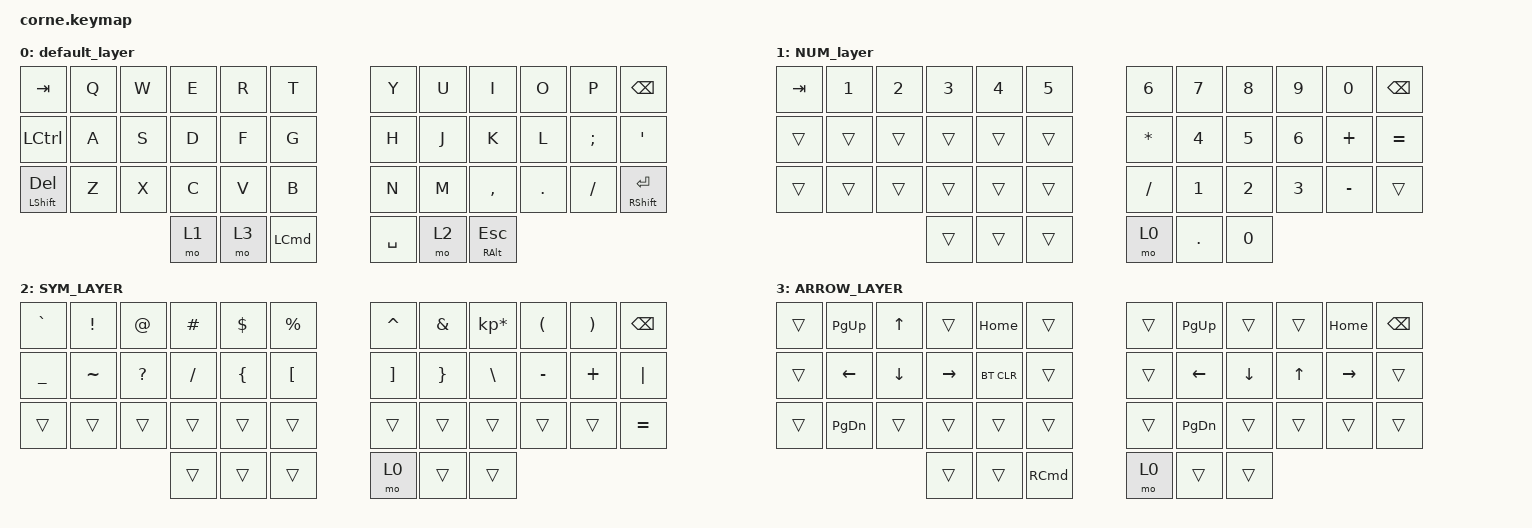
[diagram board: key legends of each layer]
/*
 * Copyright (c) 2020 The ZMK Contributors
 *
 * SPDX-License-Identifier: MIT
 */

#include <behaviors.dtsi>
#include <dt-bindings/zmk/keys.h>
#include <dt-bindings/zmk/bt.h>

/ {
    combos {
        compatible = "zmk,combos";

        new_combo {
            bindings = <&trans>;
            key-positions = <0>;
        };
    };

    macros {
    };

    keymap {
        compatible = "zmk,keymap";

        default_layer {
            // -----------------------------------------------------------------------------------------
            // |  TAB |  Q  |  W  |  E  |  R  |  T  |   |  Y  |  U   |  I  |  O  |  P  | BKSP |
            // | CTRL |  A  |  S  |  D  |  F  |  G  |   |  H  |  J   |  K  |  L  |  ;  |  '   |
            // | SHFT |  Z  |  X  |  C  |  V  |  B  |   |  N  |  M   |  ,  |  .  |  /  | ESC  |
            //                    | GUI | LWR | SPC |   | ENT | RSE  | ALT |

            bindings = <
           &kp TAB  &kp Q  &kp W  &kp E  &kp R     &kp T        &kp Y  &kp U              &kp I    &kp O     &kp P          &kp BACKSPACE
         &kp LCTRL  &kp A  &kp S  &kp D  &kp F     &kp G        &kp H  &kp J              &kp K    &kp L  &kp SEMI                &kp SQT
&mt LEFT_SHIFT DEL  &kp Z  &kp X  &kp C  &kp V     &kp B        &kp N  &kp M          &kp COMMA  &kp DOT  &kp FSLH  &mt RIGHT_SHIFT ENTER
                                  &mo 1  &mo 3  &kp LCMD    &kp SPACE  &mo 2  &mt RIGHT_ALT ESC
            >;
        };

        NUM_layer {
            // -----------------------------------------------------------------------------------------
            // |  TAB |  1  |  2  |  3  |  4  |  5  |   |  6  |  7  |  8  |  9  |  0  | BKSP |
            // | BTCLR| BT1 | BT2 | BT3 | BT4 | BT5 |   | LFT | DWN |  UP | RGT |     |      |
            // | SHFT |     |     |     |     |     |   |     |     |     |     |     |      |
            //                    | GUI |     | SPC |   | ENT |     | ALT |

            bindings = <
&kp TAB  &kp N1  &kp N2  &kp N3  &kp N4  &kp N5          &kp N6        &kp N7        &kp N8        &kp N9     &kp N0  &kp BACKSPACE
 &trans  &trans  &trans  &trans  &trans  &trans    &kp ASTERISK  &kp NUMBER_4  &kp NUMBER_5  &kp NUMBER_6   &kp PLUS      &kp EQUAL
 &trans  &trans  &trans  &trans  &trans  &trans       &kp SLASH  &kp NUMBER_1  &kp NUMBER_2  &kp NUMBER_3  &kp MINUS         &trans
                         &trans  &trans  &trans           &mo 0       &kp DOT  &kp NUMBER_0
            >;
        };

        SYM_LAYER {
            // -----------------------------------------------------------------------------------------
            // |  TAB |  !  |  @  |  #  |  $  |  %  |   |  ^  |  &  |  *  |  (  |  )  | BKSP |
            // | CTRL |     |     |     |     |     |   |  -  |  =  |  [  |  ]  |  \  |  `   |
            // | SHFT |     |     |     |     |     |   |  _  |  +  |  {  |  }  | "|" |  ~   |
            //                    | GUI |     | SPC |   | ENT |     | ALT |

            bindings = <
&kp GRAVE   &kp EXCL     &kp AT   &kp HASH        &kp DLLR         &kp PRCNT            &kp CARET         &kp AMPS  &kp KP_MULTIPLY   &kp LPAR  &kp RPAR   &kp BSPC
&kp UNDER  &kp TILDE  &kp QMARK  &kp SLASH  &kp LEFT_BRACE  &kp LEFT_BRACKET    &kp RIGHT_BRACKET  &kp RIGHT_BRACE    &kp BACKSLASH  &kp MINUS  &kp PLUS   &kp PIPE
   &trans     &trans     &trans     &trans          &trans            &trans               &trans           &trans           &trans     &trans    &trans  &kp EQUAL
                                    &trans          &trans            &trans                &mo 0           &trans           &trans
            >;
        };

        ARROW_LAYER {
            bindings = <
&trans       &kp PG_UP          &kp UP     &trans    &kp HOME    &trans    &trans  &kp PG_UP    &trans  &trans   &kp HOME  &kp BACKSPACE
&trans  &kp LEFT_ARROW  &kp DOWN_ARROW  &kp RIGHT  &bt BT_CLR    &trans    &trans   &kp LEFT  &kp DOWN  &kp UP  &kp RIGHT         &trans
&trans       &kp PG_DN          &trans     &trans      &trans    &trans    &trans  &kp PG_DN    &trans  &trans     &trans         &trans
                                           &trans      &trans  &kp RCMD     &mo 0     &trans    &trans
            >;
        };
    };
};
